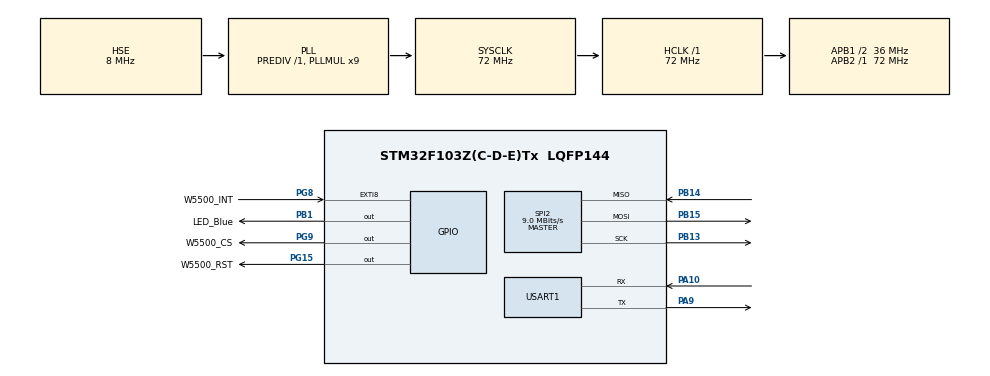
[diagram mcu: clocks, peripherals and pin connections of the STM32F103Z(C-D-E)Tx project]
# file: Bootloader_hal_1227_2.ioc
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Mcu.Family=STM32F1
Mcu.Name=STM32F103Z(C-D-E)Tx
Mcu.Package=LQFP144
NVIC.EXTI9_5_IRQn=true\:5\:0\:true\:false\:true\:true\:true\:true
NVIC.PriorityGroup=NVIC_PRIORITYGROUP_4
NVIC.TIM6_IRQn=true\:1\:0\:true\:false\:true\:true\:true\:true
NVIC.USART1_IRQn=true\:1\:0\:true\:false\:true\:true\:true\:true
OSC_IN.Mode=HSE-External-Oscillator
OSC_IN.Signal=RCC_OSC_IN
OSC_OUT.Mode=HSE-External-Oscillator
OSC_OUT.Signal=RCC_OSC_OUT
PA10.Mode=Asynchronous
PA10.Signal=USART1_RX
PA13.Mode=Serial_Wire
PA13.Signal=SYS_JTMS-SWDIO
PA14.Mode=Serial_Wire
PA14.Signal=SYS_JTCK-SWCLK
PA9.Mode=Asynchronous
PA9.Signal=USART1_TX
PB1.GPIO_Label=LED_Blue
PB1.GPIO_ModeDefaultOutputPP=GPIO_MODE_OUTPUT_PP
PB1.GPIO_Speed=GPIO_SPEED_FREQ_HIGH
PB1.PinState=GPIO_PIN_SET
PB1.Signal=GPIO_Output
PB13.Mode=Full_Duplex_Master
PB13.Signal=SPI2_SCK
PB14.Mode=Full_Duplex_Master
PB14.Signal=SPI2_MISO
PB15.Mode=Full_Duplex_Master
PB15.Signal=SPI2_MOSI
PG15.GPIO_Label=W5500_RST
PG15.GPIO_Speed=GPIO_SPEED_FREQ_HIGH
PG15.PinState=GPIO_PIN_SET
PG15.Signal=GPIO_Output
PG8.GPIO_Label=W5500_INT
PG8.GPIO_ModeDefaultEXTI=GPIO_MODE_IT_FALLING
PG8.GPIO_PuPd=GPIO_PULLUP
PG8.Signal=GPXTI8
PG9.GPIO_Label=W5500_CS
PG9.GPIO_Speed=GPIO_SPEED_FREQ_HIGH
PG9.PinState=GPIO_PIN_SET
PG9.Signal=GPIO_Output
ProjectManager.HeapSize=0x200
ProjectManager.StackSize=0x400
ProjectManager.TargetToolchain=MDK-ARM V5.32
RCC.AHBFreq_Value=72000000
RCC.APB1CLKDivider=RCC_HCLK_DIV2
RCC.APB1Freq_Value=36000000
RCC.APB1TimFreq_Value=72000000
RCC.APB2Freq_Value=72000000
RCC.APB2TimFreq_Value=72000000
RCC.HCLKFreq_Value=72000000
RCC.PLLMUL=RCC_PLL_MUL9
RCC.PLLSourceVirtual=RCC_PLLSOURCE_HSE
RCC.SYSCLKFreq_VALUE=72000000
RCC.SYSCLKSource=RCC_SYSCLKSOURCE_PLLCLK
RCC.USBFreq_Value=72000000
SPI2.BaudRatePrescaler=SPI_BAUDRATEPRESCALER_4
SPI2.CLKPhase=SPI_PHASE_2EDGE
SPI2.CLKPolarity=SPI_POLARITY_HIGH
SPI2.CRCCalculation=SPI_CRCCALCULATION_DISABLE
SPI2.CalculateBaudRate=9.0 MBits/s
SPI2.Direction=SPI_DIRECTION_2LINES
SPI2.Mode=SPI_MODE_MASTER
SPI2.VirtualType=VM_MASTER
TIM6.AutoReloadPreload=TIM_AUTORELOAD_PRELOAD_ENABLE
TIM6.Period=71
TIM6.Prescaler=999
TIM6.TIM_MasterOutputTrigger=TIM_TRGO_ENABLE
USART1.VirtualMode=VM_ASYNC
VP_TIM6_VS_ClockSourceINT.Mode=Enable_Timer
board=custom

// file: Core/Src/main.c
/* USER CODE BEGIN Header */
/**
  ******************************************************************************
  * @file           : main.c
  * @brief          : Main program body
  ******************************************************************************
  * @attention
  *
  * Copyright (c) 2025 STMicroelectronics.
  * All rights reserved.
  *
  * This software is licensed under terms that can be found in the LICENSE file
  * in the root directory of this software component.
  * If no LICENSE file comes with this software, it is provided AS-IS.
  *
  ******************************************************************************
  */
/* USER CODE END Header */
#include "main.h"
#include "spi.h"
#include "tim.h"
#include "usart.h"
#include "gpio.h"

/* USER CODE BEGIN Includes */
#include "shell.h"
#include "flash_cmd.h"
#include "ring_buffer.h"
#include "bsp_esp8266.h"
#include "bsp_esp8266_test.h"
#include "core_delay.h"
#include "w5500.h"
#include "W5500_conf.h"
#include "socket.h"
#include "utility.h"
#include "tcp_demo.h"
#include "string.h"

/* USER CODE END Includes */

/* USER CODE BEGIN PD */
extern void start_app(unsigned int vector);
typedef unsigned int __be32;
typedef unsigned char uint8_t;
extern struct flash_ops *get_flash(void);
extern ring_buffer rx_buf;
extern uint8_t g_WiFi_Shell_Enable;
#define IH_NMLEN 32

typedef struct image_header {
    __be32 ih_magic;           /* Image Header Magic Number	*/
    __be32 ih_hcrc;            /* Image Header CRC Checksum	*/
    __be32 ih_time;            /* Image Creation Timestamp	*/
    __be32 ih_size;            /* Image Data Size		??*/
    __be32 ih_load;            /* Data	 Load  Address	??*/
    __be32 ih_ep;              /* Entry Point Address		*/
    __be32 ih_dcrc;            /* Image Data CRC Checksum	*/
    uint8_t ih_os;             /* Operating System		*/
    uint8_t ih_arch;           /* CPU architecture		*/
    uint8_t ih_type;           /* Image Type			*/
    uint8_t ih_comp;           /* Compression Type		*/
    uint8_t ih_name[IH_NMLEN]; /* Image Name		*/
} image_header_t;
/* USER CODE END PD */

void SystemClock_Config(void);
/* USER CODE BEGIN PFP */
/*将大端字节序转换为小端(大端：人读;小端：机读) */
unsigned int be32_to_cpu(unsigned int big32) {

    unsigned char *p = (unsigned char *)&big32;
    return (unsigned int)(p[0] << 24 | p[1] << 16 | p[2] << 8 | p[3]);
}
void copy_app(int *from, int *to, int len) {
    // 从哪里到哪里, 多长 ?
    int i;
    for (i = 0; i < len / 4 + 1; i++) {
        to[i] = from[i];
    }
}
void relocate_and_startappp(unsigned int pos) {

    image_header_t head;
    unsigned int load;
    unsigned int size;
    unsigned int new_pos = pos + sizeof(image_header_t);
	struct flash_ops *fp = get_flash();
	unsigned int ret;

    /*读出头部 */
    //header = (image_header_t *)pos;
	ret = fp->read((unsigned char *)&head, pos, sizeof(image_header_t));
	if (ret != sizeof(image_header_t))
	{
		putstr("can not read header\r\n");
		return;
	}

    /*解析头部*/
    load = be32_to_cpu(head.ih_load);
    size = be32_to_cpu(head.ih_size);

    printf("load addr: ");
    printf("0x%08X", load);
    printf("\r\n");
    printf("size addr: ");
    printf("0x%08X", size);
    printf("\r\n");

    /*把程序复制到RAM*/
    //copy_app((int *)new_pos, (int *)load, size);
	ret = fp->read((unsigned char *)load, new_pos, size);

	printf("copy success");
    /*跳转执行 */
    start_app(load);
}
/* USER CODE END PFP */

int main(void)
{

  /* MCU Configuration--------------------------------------------------------*/

  /* Reset of all peripherals, Initializes the Flash interface and the Systick. */
  HAL_Init();

  /* USER CODE BEGIN Init */
  unsigned int postion = 0x08009000;
  int delay_cnt = 5;
  /* USER CODE END Init */

  /* Configure the system clock */
  SystemClock_Config();

  /* Initialize all configured peripherals */
  MX_GPIO_Init();
  MX_TIM6_Init();
  MX_USART1_UART_Init();
  MX_SPI2_Init();
  /* USER CODE BEGIN 2 */
  HAL_TIM_Base_Start_IT(&htim6); // IT 表示 Interrupt，这会同时开启计数器和中断
  /*-----------------ESP-01S配置--start---esp作为客户端连接我的wifi----------------------------------*/

  /*-----------------ESP-01S配置-end----------------------------------------------------------------*/

  /*-----------------ESP-01S配置--start---esp作为服务器----------------------------------*/
#if 0
  CPU_TS_TmrInit();//初始化DWT计数器，用于延时函数
  ESP8266_Init();//相关GPIO/UART初始化
  //ESP8266_StaTcpClient_Unvarnish_ConfigTest();//通信配置
  ESP8266_ApTcpServer_ConfigTest();

  while(!g_WiFi_Shell_Enable)
  {
	 	ESP8266_CheckConnectTest();
  }
  unsigned char d;
  while(ring_buffer_read(&d, &rx_buf) == 0);
  // 清空 ESP8266 接收缓冲区
  memset(strEsp8266_Fram_Record.Data_RX_BUF, 0, RX_BUF_MAX_LEN);
  strEsp8266_Fram_Record.InfBit.FramLength = 0;
  strEsp8266_Fram_Record.InfBit.FramFinishFlag = 0;

  Delay_ms(500);
  // --- 关键：倒计时前彻底清空缓冲区 ---
  while(ring_buffer_read(&d, &rx_buf) == 0);
#endif
  /*-----------------ESP-01S配置-end----------------------------------------------------------------*/

  /*-----------------W5500配置-start----------------------------------------------------------------*/
	systick_init(72);		/*初始化Systick工作时钟*/
#if 0
	reset_w5500();			/*硬复位W5500*/

	set_w5500_mac();		/*配置MAC地址*/
	set_w5500_ip();			/*配置IP地址*/

	socket_buf_init(txsize, rxsize);	/*初始化8个Socket的发送接收缓存大小*/
	while (getSn_SR(SOCK_TCPS) != SOCK_ESTABLISHED)
	{
		//等待PC客户端连接
		do_tcp_server(); //目前只是确认W5500的状态，其中的数据回环测试程序被我移出
	}
#endif
  /*-----------------W5500配置-end----------------------------------------------------------------*/

  printf("\r\nbootloader \r\n");
  printf("Press space to start shell:%d\r\n",delay_cnt);

  while (delay_cnt > 0)
  {
      // 1. 检查环形缓冲区是否有数据，而不是检查硬件标志位
      unsigned char temp_char;
      if (ring_buffer_read(&temp_char, &rx_buf) == 0) // 假设返回 0 表示成功读到数据
      {
          if (temp_char == ' ')
          {
              printf("\r\nEntering shell...\r\n");
              shell();
              break;
          }
		  else
		  {
			  printf("[0x%02X]", temp_char);
		  }

      }
      // 2. 这里的延时需要拆分，或者配合计数器
      // 如果直接 Delay 1000ms，按键响应会很迟钝
      // 建议每 100ms 检查一次按键，循环 10 次
      for(int i = 0; i < 100; i++)
      {
          //HAL_Delay(100); // 或者使用你的 Delay_ms_TIM6(100)
		  Delay_ms_TIM6(10);
          if (__HAL_UART_GET_FLAG(&huart1, UART_FLAG_RXNE) == SET) break;
      }

      delay_cnt--;
      printf("%d\r\n", delay_cnt); // 更新显示
  }

  printf("\r\nStart APP ...\r\n");
  /*-----------------直接跳转到工作区-start----------------------------------------------------------------*/
  // 禁用所有中断（防止 Bootloader 中断干扰 App）
  __disable_irq();
  HAL_TIM_Base_Stop_IT(&htim6); // 先关掉你开启的定时器
  // 关闭 SysTick、清除挂起的中断（干净的执行环境）
  SysTick->CTRL = 0;
  SysTick->LOAD = 0;
  SysTick->VAL = 0;
  for (uint32_t i = 0; i < 8; i++)
  {
    NVIC->ICER[i] = 0xFFFFFFFF; // 禁用所有中断
    NVIC->ICPR[i] = 0xFFFFFFFF; // 清除挂起标志
  }

  //relocate_and_startappp(postion);
  printf("Jumping to address: 0x%08X\r\n", postion);
  start_app(postion);
 /*-----------------直接跳转到工作区-end----------------------------------------------------------------*/
  /* USER CODE END 2 */

  /* Infinite loop */
  /* USER CODE BEGIN WHILE */
  while (1)
  {
	printf("跳转失败\r\n");
    /* USER CODE END WHILE */

  }
}

void SystemClock_Config(void)
{
  RCC_OscInitTypeDef RCC_OscInitStruct = {0};
  RCC_ClkInitTypeDef RCC_ClkInitStruct = {0};

  /** Initializes the RCC Oscillators according to the specified parameters
  * in the RCC_OscInitTypeDef structure.
  */
  RCC_OscInitStruct.OscillatorType = RCC_OSCILLATORTYPE_HSE;
  RCC_OscInitStruct.HSEState = RCC_HSE_ON;
  RCC_OscInitStruct.HSEPredivValue = RCC_HSE_PREDIV_DIV1;
  RCC_OscInitStruct.HSIState = RCC_HSI_ON;
  RCC_OscInitStruct.PLL.PLLState = RCC_PLL_ON;
  RCC_OscInitStruct.PLL.PLLSource = RCC_PLLSOURCE_HSE;
  RCC_OscInitStruct.PLL.PLLMUL = RCC_PLL_MUL9;
  if (HAL_RCC_OscConfig(&RCC_OscInitStruct) != HAL_OK)
  {
    Error_Handler();
  }

  /** Initializes the CPU, AHB and APB buses clocks
  */
  RCC_ClkInitStruct.ClockType = RCC_CLOCKTYPE_HCLK|RCC_CLOCKTYPE_SYSCLK
                              |RCC_CLOCKTYPE_PCLK1|RCC_CLOCKTYPE_PCLK2;
  RCC_ClkInitStruct.SYSCLKSource = RCC_SYSCLKSOURCE_PLLCLK;
  RCC_ClkInitStruct.AHBCLKDivider = RCC_SYSCLK_DIV1;
  RCC_ClkInitStruct.APB1CLKDivider = RCC_HCLK_DIV2;
  RCC_ClkInitStruct.APB2CLKDivider = RCC_HCLK_DIV1;

  if (HAL_RCC_ClockConfig(&RCC_ClkInitStruct, FLASH_LATENCY_2) != HAL_OK)
  {
    Error_Handler();
  }
}

void Error_Handler(void)
{
  __disable_irq();
  while (1)
  {
  }
}
